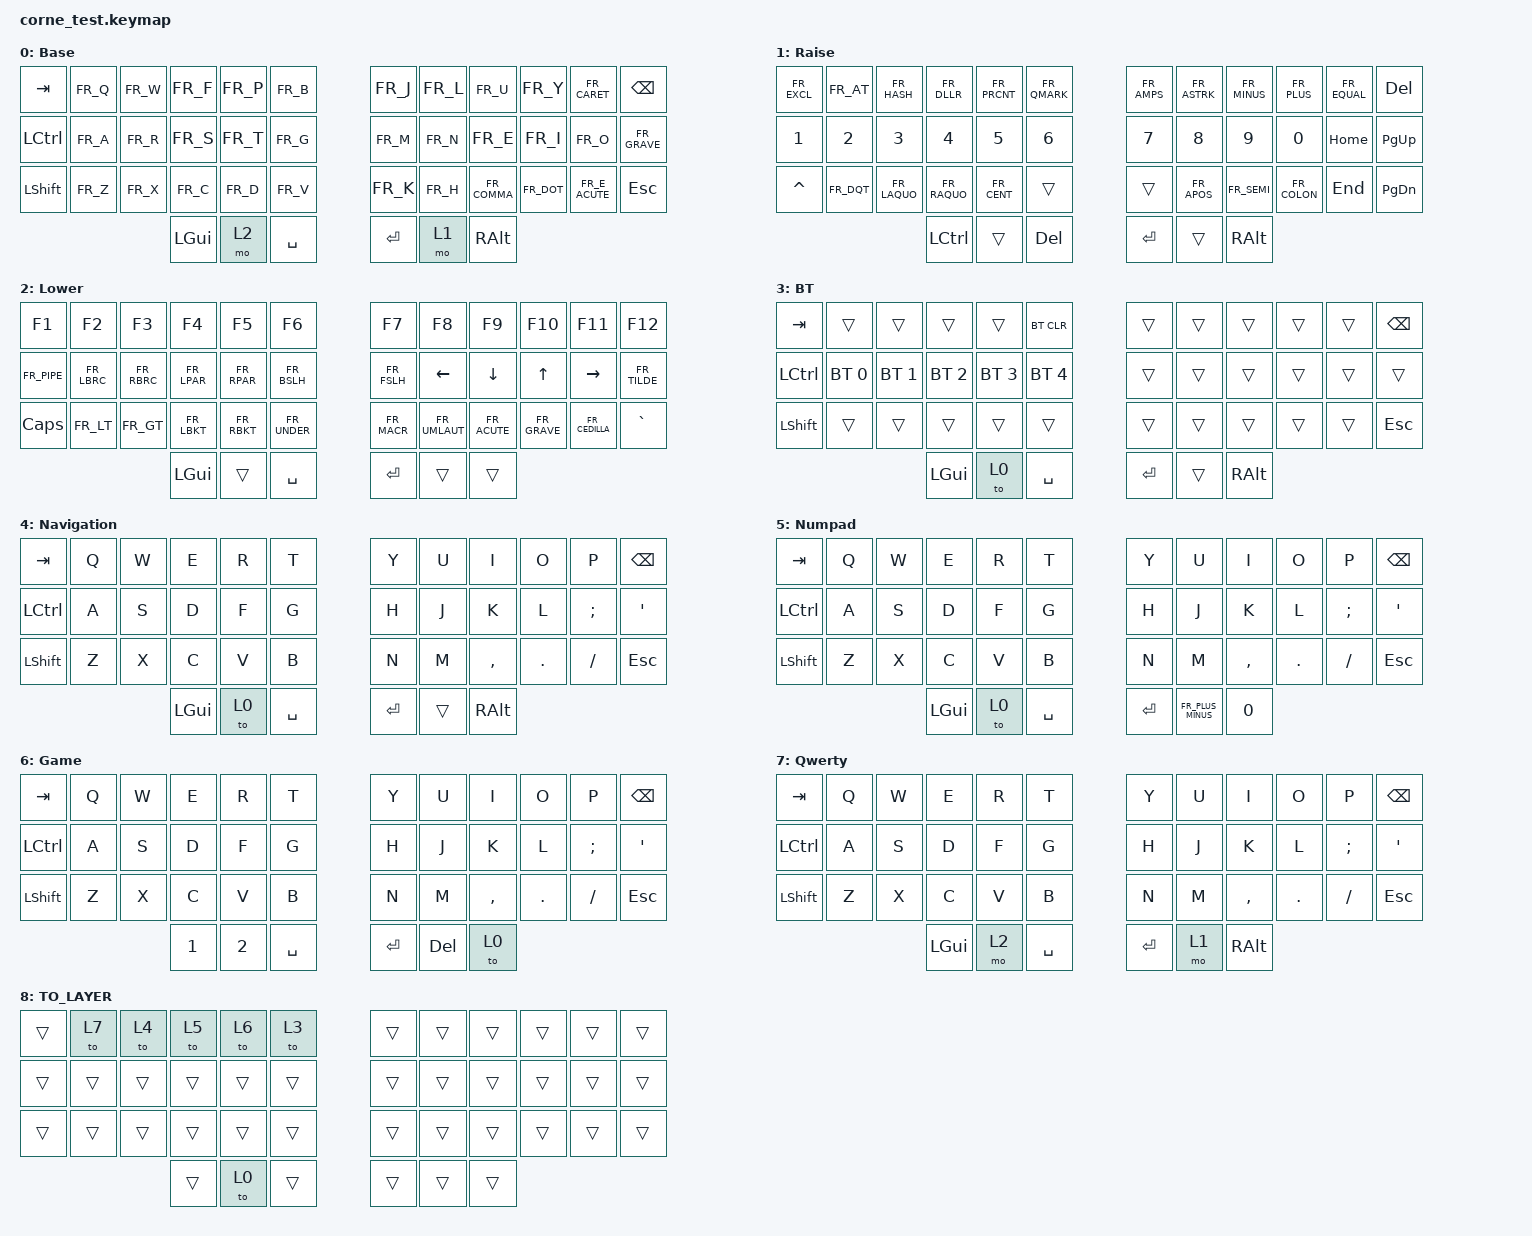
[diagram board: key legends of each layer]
/*
 * Copyright (c) 2020 The ZMK Contributors
 *
 * SPDX-License-Identifier: MIT
*/

#include <behaviors.dtsi>
#include <dt-bindings/zmk/keys.h>
#include <dt-bindings/zmk/bt.h>

#define COLEMAK 0
#define RAISE 1
#define LOWER 2
#define BT_LAYER 3
#define NAV_LAYER 4
#define NUM_LAYER 5
#define GAME_LAYER 6
#define QWERTY 7
#define TO_LAYER 8

/* KEY POSITIONS
  ╭───────────────────────╮          ╭────────────────────────╮
  │  0   1   2   3   4  5 │          │  6   7   8   9  10  11 │
  │ 12  13  14  15  16 17 │          │ 18  19  20  21  22  23 │
  │ 24  25  26  27  28 29 ─────╮ ╭───  30  31  32  33  34  35 │
  ╰──────────────╮  36  37  38 │ │ 39  40  41 ╭───────────────╯
                 ╰─────────────╯ ╰────────────╯           
*/

/ {
    combos {
        compatible = "zmk,combos";
        combo_layers {
            timeout-ms = <50>;
            key-positions = <36 37>;
            bindings = <&to 8>;
        };
    };
        keymap {
                compatible = "zmk,keymap";

                COLEMAK {
// -----------------------------------------------------------------------------------------
// |  TAB |  Q  |  W  |  F  |  P  |  B  |   |  J  |  L   |  U  |  Y  |  ^  | BKSP |
// | CTRL |  A  |  R  |  S  |  T  |  G  |   |  M  |  N   |  E  |  I  |  O  |   `  |
// | SHFT |  Z  |  X  |  C  |  D  |  V  |   |  K  |  H   |  ,  |  .  |  É  | ESC  |
//                    | GUI | LWR | SPC |   | ENT | RSE  | ALTGR |
                        label = "Base";
                        bindings = <
   &kp TAB   &kp FR_Q &kp FR_W &kp FR_F &kp FR_P &kp FR_B   &kp FR_J &kp FR_L &kp FR_U &kp FR_Y &kp FR_CARET &kp BSPC
   &kp LCTRL &kp FR_A &kp FR_R &kp FR_S &kp FR_T &kp FR_G   &kp FR_M &kp FR_N &kp FR_E &kp FR_I &kp FR_O &kp FR_GRAVE
   &kp LSHFT &kp FR_Z &kp FR_X &kp FR_C &kp FR_D &kp FR_V   &kp FR_K &kp FR_H  &kp FR_COMMA &kp FR_DOT &kp FR_E_ACUTE &kp ESC
                  &kp LGUI &mo 2 &kp SPACE   &kp RET &mo 1 &kp RALT
                        >;
                };
                RAISE {
// -----------------------------------------------------------------------------------------
// |   !  |  @  |  #  |  $  |  %  |  ?  |   |  &  |  *  |  -  |  +  |  =  | DEL  |
// |   1  |  2  |  3  |  4  |  5  |  6  |   |  7  |  8  |  9  |  0  |HOME | PGUP |
// |   ^  |  "  |  «  |  »  |  ¢  |  €  |   |  ÷  |  '  |  ;  |  :  | END |PGDWN |
//                    | CTRL|     | DEL |   | ENT |     | ALT |
                        label = "Raise";
                        bindings = <
   &kp FR_EXCL &kp FR_AT &kp FR_HASH &kp FR_DLLR &kp FR_PRCNT &kp FR_QMARK &kp FR_AMPS &kp FR_ASTRK &kp FR_MINUS &kp FR_PLUS &kp FR_EQUAL &kp DEL
   &kp N1 &kp N2 &kp N3 &kp N4 &kp N5 &kp N6   &kp N7 &kp N8 &kp N9 &kp N0 &kp HOME &kp PG_UP
   &kp CARET &kp FR_DQT &kp FR_LAQUO &kp FR_RAQUO &kp FR_CENT &trans &trans  &kp FR_APOS &kp FR_SEMI &kp FR_COLON &kp END &kp PG_DN
                &kp LCTRL &trans &kp DEL &kp RET &trans &kp RALT
                        >;
                };
                LOWER {
// -----------------------------------------------------------------------------------------
// |  F1  | F2  | F3  | F4  | F5  | F6  |   | F7  | F8  | F9  | F10 | F11 | F12  |
// |  |   |  {  |  }  |  (  |  )  |  \  |   |  /  | LFT | DWN | UP  | RGT |  ~   |
// | CAPS |  <  |  >  |  [  |  ]  |  _  |   |  ­¯  |  ¨  | ´   |  `  |  ¸  |  `   |
//                    | GUI |     | SPC |   |BKSP |     | CAD* |   CAD = CTRL + ALT + DEL
                        label = "Lower";
                        bindings = <
   &kp F1 &kp F2 &kp F3 &kp F4 &kp F5 &kp F6 &kp F7 &kp F8 &kp F9 &kp F10 &kp F11 &kp F12
   &kp FR_PIPE &kp FR_LBRC &kp FR_RBRC &kp FR_LPAR &kp FR_RPAR &kp FR_BSLH &kp FR_FSLH &kp LEFT &kp DOWN &kp UP &kp RIGHT &kp FR_TILDE
   &kp CAPS &kp FR_LT &kp FR_GT &kp FR_LBKT &kp FR_RBKT &kp FR_UNDER &kp FR_MACR &kp FR_UMLAUT &kp FR_ACUTE &kp FR_GRAVE &kp FR_CEDILLA &kp GRAVE
                  &kp LGUI &trans &kp SPACE   &kp RET &trans &trans
                        >;
                };
                BT_LAYER {
// -----------------------------------------------------------------------------------------
// |  TAB |     |     |     |     |BTCLR|   |     |     |     |     |     | BKSP |
// | CTRL | BT0 | BT1 | BT2 | BT3 | BT4 |   |     |     |     |     |     |      |
// | SHFT |     |     |     |     |     |   |     |     |     |     |     | ESC  |
//                    | GUI | BASE| SPC |   | ENT |     | ALT |
                        label = "BT";
                        bindings = <
   &kp TAB &trans &trans &trans &trans &bt BT_CLR &trans &trans &trans &trans &trans &kp BSPC
   &kp LCTRL &bt BT_SEL 0 &bt BT_SEL 1 &bt BT_SEL 2 &bt BT_SEL 3 &bt BT_SEL 4 &trans &trans &trans &trans &trans &trans
   &kp LSHFT &trans &trans &trans &trans &trans &trans &trans &trans &trans &trans &kp ESC
                &kp LGUI &to 0 &kp SPACE &kp RET &trans &kp RALT
                        >;
                };
                NAV_LAYER {
// -----------------------------------------------------------------------------------------
// |  TAB |BGTUP|BGTDN| NAV1|NAV2 |     |   |  PGUP  |    |  UP  |     | HOME | DEL |
// | CTRL |RWND |PLAY |FFWD |     |     |   | PGDWN  | LFT  | DWN  | RGT   | END   | INS |
// | SHFT |MUTE |VOLDN|VOLUP|     |     |   |    |    |    |    |  | ESC  |
//                    | GUI |BASE | SPC |   | ENT |     | ALT |
                        label = "Navigation";
                        bindings = <
   &kp TAB   &kp Q &kp W &kp E &kp R &kp T   &kp Y &kp U  &kp I     &kp O   &kp P    &kp BSPC
   &kp LCTRL &kp A &kp S &kp D &kp F &kp G   &kp H &kp J  &kp K     &kp L   &kp SEMI &kp SQT
   &kp LSHFT &kp Z &kp X &kp C &kp V &kp B   &kp N &kp M  &kp COMMA &kp DOT &kp FSLH &kp ESC
                  &kp LGUI &to 0 &kp SPACE   &kp RET &trans &kp RALT
                        >;
                };
                NUM_LAYER {
// -----------------------------------------------------------------------------------------
// | ¬  | { | } | ( |  |  ) | \ |   | /  |  7  |  8  |  9  | - | BKSP |
// | ¦ | <  | > | [ |  ]   |  |   |   |  * |  4  | 5  | 6   | +  | = |
// | ¤ | ² | ³ | ¼ |  ½  |  ¾   |   |  ,  |  1  |  2  |  3  | . | ENT  |
//                    | GUI |BASE | SPC |   | ENT |  ±  | 0 |
                        label = "Numpad";
                        bindings = <
   &kp TAB   &kp Q &kp W &kp E &kp R &kp T   &kp Y &kp U  &kp I     &kp O   &kp P    &kp BSPC
   &kp LCTRL &kp A &kp S &kp D &kp F &kp G   &kp H &kp J  &kp K     &kp L   &kp SEMI &kp SQT
   &kp LSHFT &kp Z &kp X &kp C &kp V &kp B   &kp N &kp M  &kp COMMA &kp DOT &kp FSLH &kp ESC
                  &kp LGUI &to 0 &kp SPACE   &kp RET &kp FR_PLUS_MINUS &kp N0
                        >;
                };
                GAME_LAYER {
// -----------------------------------------------------------------------------------------
// |  TAB |  Q  |  W  |  E  |  R  |  T  |   |  °  |  ¥   |  £  |  æ  |  œ  |  …   |
// | CTRL |  A  |  S  |  D  |  F  |  G  |   |  ©  |  ®   |  ™  |  µ  |  ≈  |  ≠   |
// | SHFT |  Z  |  X  |  C  |  V  |  B  |   |  ≤  |  ≥   |  №  |  ¶  |  §  |  ‰   |
//                    |  1  |  2  | SPC |   | ENT | DEL  |BASE |
                        label = "Game";
                        bindings = <
   &kp TAB   &kp Q &kp W &kp E &kp R &kp T   &kp Y &kp U  &kp I     &kp O   &kp P    &kp BSPC
   &kp LCTRL &kp A &kp S &kp D &kp F &kp G   &kp H &kp J  &kp K     &kp L   &kp SEMI &kp SQT
   &kp LSHFT &kp Z &kp X &kp C &kp V &kp B   &kp N &kp M  &kp COMMA &kp DOT &kp FSLH &kp ESC
                  &kp N1 &kp N2 &kp SPACE   &kp RET &kp DEL &to 0
                        >;
                };
                QWERTY {
// -----------------------------------------------------------------------------------------
// |  TAB |  Q  |  W  |  E  |  R  |  T  |   |  Y  |  U   |  I  |  O  |  P  | BKSP |
// | CTRL |  A  |  S  |  D  |  F  |  G  |   |  H  |  J   |  K  |  L  |  ;  |  '   |
// | SHFT |  Z  |  X  |  C  |  V  |  B  |   |  N  |  M   |  ,  |  .  |  /  | ESC  |
//                    | GUI | LWR | SPC |   | ENT | RSE  | ALT |
                        label = "Qwerty";
                        bindings = <
   &kp TAB   &kp Q &kp W &kp E &kp R &kp T   &kp Y &kp U  &kp I     &kp O   &kp P    &kp BSPC
   &kp LCTRL &kp A &kp S &kp D &kp F &kp G   &kp H &kp J  &kp K     &kp L   &kp SEMI &kp SQT
   &kp LSHFT &kp Z &kp X &kp C &kp V &kp B   &kp N &kp M  &kp COMMA &kp DOT &kp FSLH &kp ESC
                  &kp LGUI &mo 2 &kp SPACE   &kp RET &mo 1 &kp RALT
                        >;
                };
                TO_LAYER {
// -----------------------------------------------------------------------------------------
// |      |QWERT| NAV | NUM | GAME| BT  |   |     |     |     |     |     |      |
// |      |     |     |     |     |     |   |     |     |     |     |     |      |
// |      |     |     |     |     |     |   |     |     |     |     |     |      |
//                    |     | BASE|     |   |     |     |     |
                        label = "TO_LAYER";
                        bindings = <
   &trans &to 7  &to 4  &to 5  &to 6  &to 3  &trans &trans &trans &trans &trans &trans
   &trans &trans &trans &trans &trans &trans &trans &trans &trans &trans &trans &trans
   &trans &trans &trans &trans &trans &trans &trans &trans &trans &trans &trans &trans
                  &trans &to 0 &trans &trans &trans &trans
                        >;
                };
        };
};
*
